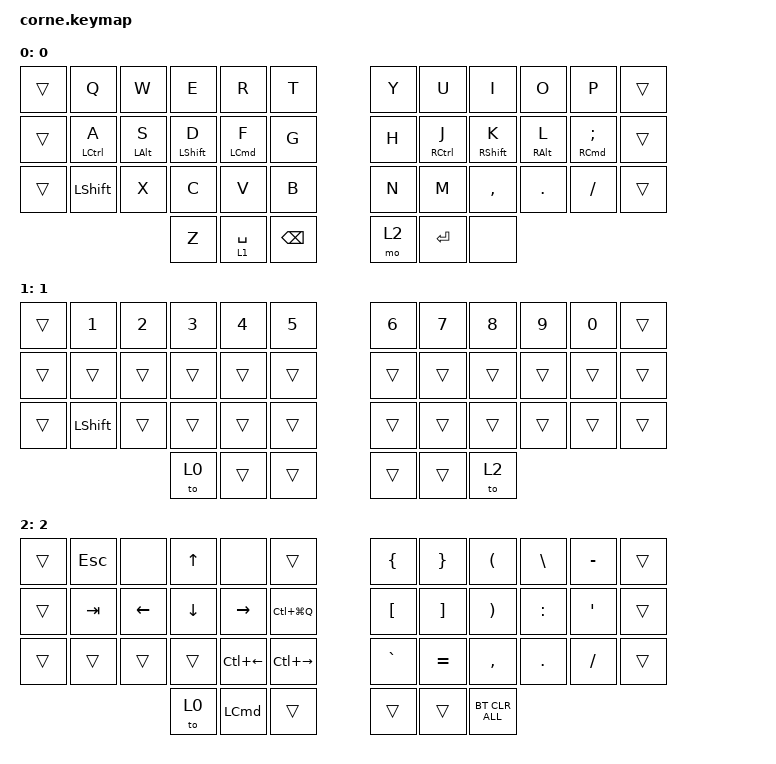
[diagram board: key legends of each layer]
/*
 * Copyright (c) 2020 The ZMK Contributors
 *
 * SPDX-License-Identifier: MIT
 */

#include <behaviors.dtsi>
#include <dt-bindings/zmk/bt.h>
#include <dt-bindings/zmk/keys.h>

#define DEFAULT_L 0
#define SYMBOLS_L 1
#define ARROWS_L  2
#define NUMBERS_L 3

/ {
    behaviors {
        hm: homerow_mods {
            compatible = "zmk,behavior-hold-tap";
            label = "HOMEROW_MODS";
            #binding-cells = <2>;
            tapping-term-ms = <300>;
            quick-tap-ms = <200>;
            flavor = "tap-preferred";
            bindings = <&kp>, <&kp>;
        };
    };

    combos {
        compatible = "zmk,combos";

        left_paren {
            bindings = <&kp LEFT_PARENTHESIS>;
            key-positions = <19 20>;
            require-prior-idle-ms = <280>;
            layers = <0>;
            timeout-ms = <50>;
        };

        right_paren {
            bindings = <&kp RIGHT_PARENTHESIS>;
            key-positions = <20 21>;
            require-prior-idle-ms = <280>;
            layers = <0>;
            timeout-ms = <50>;
        };

        left_cb {
            bindings = <&kp LEFT_BRACE>;
            key-positions = <7 8>;
            require-prior-idle-ms = <280>;
            layers = <0>;
            timeout-ms = <50>;
        };

        right_cb {
            bindings = <&kp RIGHT_BRACE>;
            key-positions = <8 9>;
            require-prior-idle-ms = <280>;
            layers = <0>;
            timeout-ms = <50>;
        };

        left_sb {
            bindings = <&kp LEFT_BRACKET>;
            key-positions = <7 19>;
        };

        right_sb {
            bindings = <&kp RIGHT_BRACKET>;
            key-positions = <8 20>;
        };
    };

    keymap {
        compatible = "zmk,keymap";

        default_layer {
            label = "0";
            bindings = <
&trans  &kp Q               &kp W           &kp E             &kp R               &kp T            &kp Y  &kp U                &kp I              &kp O            &kp P                   &trans
&trans  &hm LEFT_CONTROL A  &hm LEFT_ALT S  &hm LEFT_SHIFT D  &hm LEFT_COMMAND F  &kp G            &kp H  &hm RIGHT_CONTROL J  &hm RIGHT_SHIFT K  &hm RIGHT_ALT L  &hm RIGHT_COMMAND SEMI  &trans
&trans  &kp LEFT_SHIFT      &kp X           &kp C             &kp V               &kp B            &kp N  &kp M                &kp COMMA          &kp DOT          &kp FSLH                &trans
                                            &kp Z             &lt 1 SPACE         &kp BACKSPACE    &mo 2  &kp ENTER            &none
            >;
        };

        number_layer {
            label = "1";
            bindings = <
&trans  &kp N1          &kp N2  &kp N3  &kp N4  &kp N5    &kp N6  &kp N7  &kp N8  &kp N9  &kp N0  &trans
&trans  &trans          &trans  &trans  &trans  &trans    &trans  &trans  &trans  &trans  &trans  &trans
&trans  &kp LEFT_SHIFT  &trans  &trans  &trans  &trans    &trans  &trans  &trans  &trans  &trans  &trans
                                &to 0   &trans  &trans    &trans  &trans  &to 2
            >;
        };

        bt_layer {
            label = "2";
            bindings = <
&trans  &kp ESC  &none           &kp UP_ARROW    &none               &trans                 &kp LEFT_BRACE    &kp RIGHT_BRACE    &kp LEFT_PARENTHESIS   &kp BACKSLASH  &kp MINUS         &trans
&trans  &kp TAB  &kp LEFT_ARROW  &kp DOWN_ARROW  &kp RIGHT_ARROW     &kp LC(LG(Q))          &kp LEFT_BRACKET  &kp RIGHT_BRACKET  &kp RIGHT_PARENTHESIS  &kp COLON      &kp SINGLE_QUOTE  &trans
&trans  &trans   &trans          &trans          &kp LC(LEFT_ARROW)  &kp LC(RIGHT_ARROW)    &kp GRAVE         &kp EQUAL          &kp COMMA              &kp DOT        &kp SLASH         &trans
                                 &to 0           &kp LEFT_COMMAND    &trans                 &trans            &trans             &bt BT_CLR_ALL
            >;
        };
    };
};
